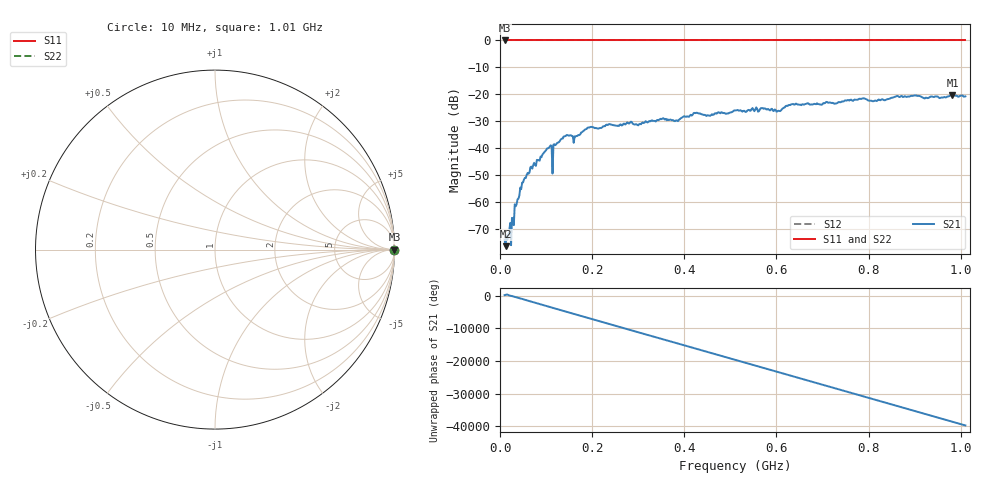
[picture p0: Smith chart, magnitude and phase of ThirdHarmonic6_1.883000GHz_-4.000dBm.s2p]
! 8/16/2025 10:44:38 PM
! C:\ANRITSUVNA\TEMP\TEMP.S2P
! CHANNEL.1
! TR.MEASUREMENT
! RAW.DATA
! RF.CORRECTION.OFF
! AVERAGING.OFF
! IF.BANDWIDTH: 5KHZ
! SWEEPTYPE:  FREQ.SWEEP(Linear)
! Reference Plane Port Info
! PORT:  PORT1  PORT2
! DISTANCE:  0  m  0  m
! TIME:  0  s  0  s
! PHASE.OFFSET:  0  deg.  0  deg.
! LOSS:  0  dB  0  dB
! REF.LOSS:  0  dB  0  dB
! REF.FREQ:  0  Hz  0  Hz
! Power Info
! POWER:  -20  dBm  -20  dBm
! EFF.POWER:  -20  dBm  -20  dBm
! SOURCE.ATTEN:  0  dB  0  dB
! TEST.ATTEN:  0  dB  0  dB
# GHZ S RI R 50.0
! FREQ.GHZ  S11RE  S11IM  S21RE  S21IM  S12RE  S12IM  S22RE  S22IM
!; PortSelection: Port_12
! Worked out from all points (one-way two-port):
!   501 points, 10 MHz to 1.01 GHz, reference 50 ohm
!   highest |S21| = -20.22 dB at 982 MHz (marker M1); lowest = -76.2 dB at 12 MHz (marker M2)
!   lowest |S11| = 0.0 dB at 10 MHz (marker M3)
!   |S11| at or under -10 dB: nowhere
!   |S22| runs from 0.0 to 0.0 dB; largest |S21 - S12| = 1.1
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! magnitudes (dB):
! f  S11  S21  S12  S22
! 10 MHz  0.0  -73.8  0.0  0.0
! 12 MHz  0.0  -76.2  0.0  0.0
! 26 MHz  0.0  -65.7  0.0  0.0
! 36 MHz  0.0  -60.7  0.0  0.0
! 48 MHz  0.0  -52.7  0.0  0.0
! 70 MHz  0.0  -47.5  0.0  0.0
! 106 MHz  0.0  -39.8  0.0  0.0
! 110 MHz  0.0  -38.9  0.0  0.0
! 118 MHz  0.0  -38.4  0.0  0.0
! 120 MHz  0.0  -38.8  0.0  0.0
! 142 MHz  0.0  -35.5  0.0  0.0
! 164 MHz  0.0  -35.6  0.0  0.0
! 178 MHz  0.0  -34.0  0.0  0.0
! 194 MHz  0.0  -32.2  0.0  0.0
! 344 MHz  0.0  -29.6  0.0  0.0
! 510 MHz  0.0  -25.9  0.0  0.0
! 604 MHz  0.0  -26.0  0.0  0.0
! 632 MHz  0.0  -23.6  0.0  0.0
! 678 MHz  0.0  -23.7  0.0  0.0
! 844 MHz  0.0  -21.7  0.0  0.0
! 982 MHz  0.0  -20.2  0.0  0.0
! 1.01 GHz  0.0  -20.7  0.0  0.0
